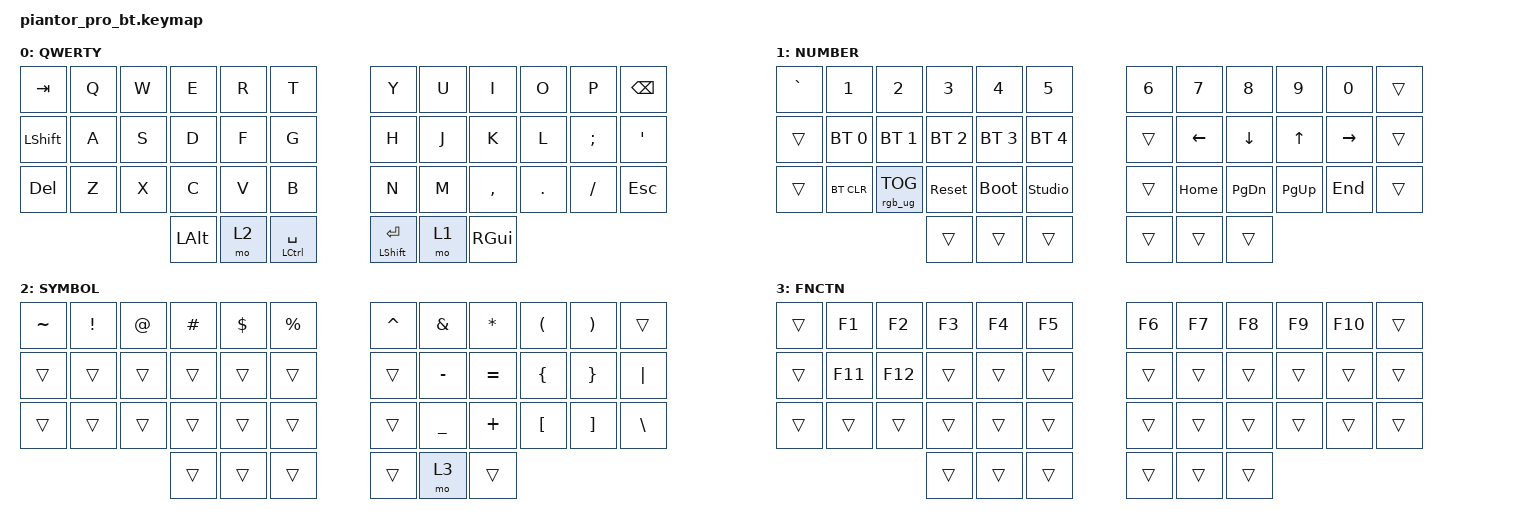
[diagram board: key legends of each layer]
/*
 * Copyright (c) 2020 The ZMK Contributors
 *
 * SPDX-License-Identifier: MIT
 */

#include <behaviors.dtsi>
#include <dt-bindings/zmk/keys.h>
#include <dt-bindings/zmk/bt.h>
#include <dt-bindings/zmk/rgb.h>

/ {
    chosen {
        zmk,physical-layout = &default_layout;
    };
};

&mt {
    tapping-term-ms = <200>;
    flavor = "tap-preferred";
};

/ {

    keymap {
        compatible = "zmk,keymap";

        default_layer {
            display-name = "QWERTY";
            // --------------------------------------------------------------------------------
            // | TAB   |  Q  |  W  |  E  |  R  |  T  |  Y  |  U   |  I  |  O  |  P  | BSPC |
            // | SHIFT |  A  |  S  |  D  |  F  |  G  |  H  |  J   |  K  |  L  |  ;  |  '   |
            // | DEL   |  Z  |  X  |  C  |  V  |  B  |  N  |  M   |  ,  |  .  |  /  | ESC  |
            //                     | ALT | RSE | SPC | ENT | LWR  | GUI |
            bindings = <
               &kp TAB    &kp Q       &kp W     &kp E        &kp R        &kp T             &kp Y          &kp U        &kp I        &kp O       &kp P          &kp BSPC
               &kp LSHIFT &kp A       &kp S     &kp D        &kp F        &kp G             &kp H          &kp J        &kp K        &kp L       &kp SEMI       &kp SQT      
               &kp DEL    &kp Z       &kp X     &kp C        &kp V        &kp B             &kp N          &kp M        &kp COMMA    &kp DOT     &kp FSLH       &kp ESC
                                                &kp LALT     &mo 2        &mt LCTRL SPACE   &mt LSHIFT RET &mo 1        &kp RGUI
            >;
        };

        lower_layer {
            display-name = "NUMBER";
            // -----------------------------------------------------------------------------------------
            // |  ` |  1  |  2  |  3  |  4  |  5    |  6  |  7  |  8  |  9  |  0  |     |
            // |    | BT1 | BT2 | BT3 | BT4 | BT5   |     | LFT | DWN |  UP | RGT |     |
            // |    | BTCR| RGB | RST | BOOT| Unlock|     | HOME|PG_DN|PG_UP| END |     |
            //                  |     |     |       |     |     |     |
            bindings = <
                &kp GRAVE  &kp N1       &kp N2          &kp N3       &kp N4       &kp N5         &kp N6   &kp N7   &kp N8    &kp N9    &kp N0    &trans
                &trans     &bt BT_SEL 0 &bt BT_SEL 1    &bt BT_SEL 2 &bt BT_SEL 3 &bt BT_SEL 4   &trans   &kp LEFT &kp DOWN  &kp UP    &kp RIGHT &trans
                &trans     &bt BT_CLR   &rgb_ug RGB_TOG &sys_reset   &bootloader  &studio_unlock &trans   &kp HOME &kp PG_DN &kp PG_UP &kp END   &trans
                                                        &trans       &trans       &trans         &trans   &trans   &trans
            >;
        };

        raise_layer {
            display-name = "SYMBOL";
            // -----------------------------------------------------------------------------------------
            // |  ~ |  !  |  @  |  #  |  $  |  %  |  ^  |  &  |  *  |  (  |  )  |     |
            // |    |     |     |     |     |     |     |  -  |  =  |  {  |  }  |  \  |
            // |    |     |     |     |     |     |     |  _  |  +  |  [  |  ]  | "|" |
            //                  |     |     |     |     |     |     |
            bindings = <
               &kp TILDE &kp EXCL  &kp AT  &kp HASH  &kp DLLR  &kp PRCNT   &kp CARET &kp AMPS   &kp ASTRK &kp LPAR &kp RPAR &trans
               &trans    &trans    &trans  &trans    &trans    &trans      &trans    &kp MINUS  &kp EQUAL &kp LBRC &kp RBRC &kp PIPE
               &trans    &trans    &trans  &trans    &trans    &trans      &trans    &kp UNDER  &kp PLUS  &kp LBKT &kp RBKT &kp BSLH
                                           &trans    &trans    &trans      &trans    &mo 3      &trans
            >;
        };

        function_layer {
            display-name = "FNCTN";
            // -----------------------------------------------------------------------------------------
            // |   | F1  | F2  | F3 | F4 | F5 | F6 |  F7 | F8 | F9 | F10 |   |
            // |   | F11 | F12 |    |    |    |    |     |    |    |     |   | 
            // |   |     |     |    |    |    |    |     |    |    |     |   |
            //                      |    |    |    |     |    |    |
            bindings = <
               &trans &kp F1  &kp F2   &kp F3 &kp F4 &kp F5   &kp F6 &kp F7  &kp F8 &kp F9 &kp F10 &trans
               &trans &kp F11 &kp F12  &trans &trans &trans   &trans &trans  &trans &trans &trans  &trans
               &trans &trans  &trans   &trans &trans &trans   &trans &trans  &trans &trans &trans  &trans
                                       &trans &trans &trans   &trans &trans  &trans  
            >;
        };
    };
};
